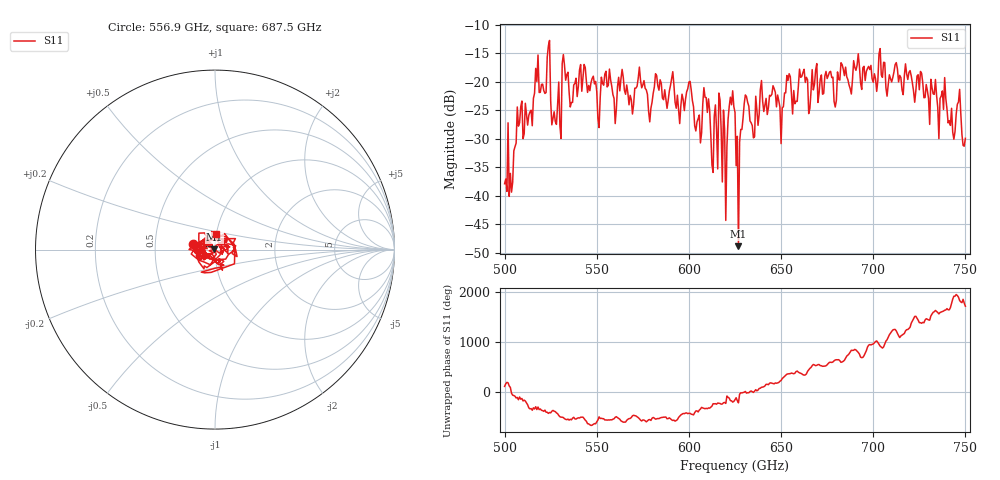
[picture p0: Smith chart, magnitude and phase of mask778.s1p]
!Created with skrf (http://scikit-rf.org).
# GHz S MA R 50.0
!freq magS11 angS11
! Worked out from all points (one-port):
!   401 points, 500 GHz to 750 GHz, reference 50 ohm
!   lowest |S11| = -48.9 dB at 626.9 GHz (marker M1), VSWR 1.01, Z = 49.7 + j0.189 ohm
!   |S11| at or under -10 dB: start of sweep to end of sweep
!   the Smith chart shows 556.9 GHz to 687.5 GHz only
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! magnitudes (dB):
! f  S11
! 500 GHz  -37.9
! 516.9 GHz  -17.7
! 523.8 GHz  -13.7
! 526.9 GHz  -25.3
! 531.2 GHz  -16.8
! 532.5 GHz  -17.1
! 562.5 GHz  -21.6
! 578.8 GHz  -27.0
! 590.6 GHz  -19.5
! 593.8 GHz  -22.4
! 600 GHz  -20.0
! 605.6 GHz  -25.8
! 609.4 GHz  -22.8
! 612.5 GHz  -34.6
! 617.5 GHz  -28.5
! 619.4 GHz  -28.5
! 622.5 GHz  -22.7
! 625 GHz  -25.3
! 626.9 GHz  -48.9
! 631.2 GHz  -22.6
! 634.4 GHz  -27.7
! 640 GHz  -23.4
! 656.2 GHz  -25.7
! 687.5 GHz  -21.2
! 718.8 GHz  -19.6
! 743.1 GHz  -28.8
! 746.2 GHz  -23.5
! 750 GHz  -29.9
